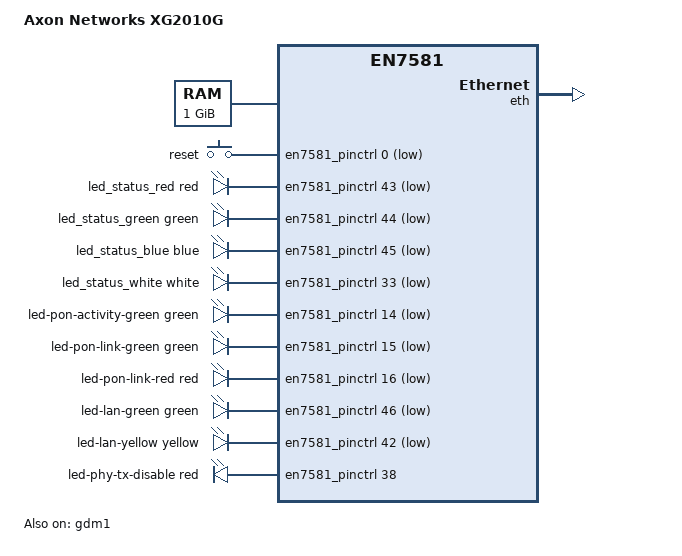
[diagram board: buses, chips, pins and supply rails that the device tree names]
// SPDX-License-Identifier: (GPL-2.0-only OR BSD-2-Clause)
/dts-v1/;

/* The vendor first-stage loader installs ATF here. */
/memreserve/ 0x80000000 0x200000;

#include <dt-bindings/gpio/gpio.h>
#include <dt-bindings/input/input.h>
#include <dt-bindings/leds/common.h>
#include "en7581.dtsi"

/ {
	model = "Axon Networks XG2010G";
	compatible = "axon,xg2010g", "econet,xg2010g",
		     "econet,en7581", "airoha,an7581", "airoha,en7581";
	recovery-gpios = <&en7581_pinctrl 0 GPIO_ACTIVE_LOW>;
	recovery-link-mdio = <&mdio>;
	recovery-link-phy-addrs = <12>;
	recovery-green-led-gpios = <&en7581_pinctrl 46 GPIO_ACTIVE_LOW>;
	recovery-yellow-led-gpios = <&en7581_pinctrl 42 GPIO_ACTIVE_LOW>;

	aliases {
		serial0 = &uart1;
		led-boot = &led_status_red;
		led-failsafe = &led_status_blue;
		led-upgrade = &led_status_white;
		led-running = &led_status_green;
	};

	chosen {
		rootdisk = <&ubi_rootfs>;
		bootargs = "console=ttyS0,115200 earlycon ubi.block=0,fit root=/dev/fit0 rootwait";
		stdout-path = "serial0:115200n8";
		linux,usable-memory-range = <0x0 0x80200000 0x0 0x3fe00000>;
	};

	memory@80000000 {
		device_type = "memory";
		reg = <0x0 0x80000000 0x0 0x40000000>;
	};

	keys {
		compatible = "gpio-keys";

		key-restart {
			label = "reset";
			gpios = <&en7581_pinctrl 0 GPIO_ACTIVE_LOW>;
			linux,code = <KEY_RESTART>;
		};
	};

	leds {
		compatible = "gpio-leds";

		led_status_red: led-status-red {
			color = <LED_COLOR_ID_RED>;
			function = LED_FUNCTION_STATUS;
			gpios = <&en7581_pinctrl 43 GPIO_ACTIVE_LOW>;
			default-state = "on";
		};

		led_status_green: led-status-green {
			color = <LED_COLOR_ID_GREEN>;
			function = LED_FUNCTION_STATUS;
			gpios = <&en7581_pinctrl 44 GPIO_ACTIVE_LOW>;
		};

		led_status_blue: led-status-blue {
			color = <LED_COLOR_ID_BLUE>;
			function = LED_FUNCTION_STATUS;
			gpios = <&en7581_pinctrl 45 GPIO_ACTIVE_LOW>;
		};

		led_status_white: led-status-white {
			color = <LED_COLOR_ID_WHITE>;
			function = LED_FUNCTION_STATUS;
			gpios = <&en7581_pinctrl 33 GPIO_ACTIVE_LOW>;
		};

		led-pon-activity-green {
			color = <LED_COLOR_ID_GREEN>;
			function = LED_FUNCTION_ACTIVITY;
			gpios = <&en7581_pinctrl 14 GPIO_ACTIVE_LOW>;
		};

		led-pon-link-green {
			color = <LED_COLOR_ID_GREEN>;
			function = LED_FUNCTION_WAN_ONLINE;
			gpios = <&en7581_pinctrl 15 GPIO_ACTIVE_LOW>;
		};

		led-pon-link-red {
			color = <LED_COLOR_ID_RED>;
			function = LED_FUNCTION_WAN;
			gpios = <&en7581_pinctrl 16 GPIO_ACTIVE_LOW>;
		};

		led-lan-green {
			color = <LED_COLOR_ID_GREEN>;
			function = LED_FUNCTION_LAN;
			gpios = <&en7581_pinctrl 46 GPIO_ACTIVE_LOW>;
		};

		led-lan-yellow {
			color = <LED_COLOR_ID_YELLOW>;
			function = LED_FUNCTION_LAN;
			gpios = <&en7581_pinctrl 42 GPIO_ACTIVE_LOW>;
		};

		led-phy-tx-disable {
			color = <LED_COLOR_ID_RED>;
			function = LED_FUNCTION_FAULT;
			gpios = <&en7581_pinctrl 38 GPIO_ACTIVE_HIGH>;
			default-state = "on";
		};
	};
};

&en7581_pinctrl {
	gpio-ranges = <&en7581_pinctrl 0 13 47>;

	mdio_pins: mdio-pins {
		mux {
			function = "mdio";
			groups = "mdio";
		};

		conf {
			pins = "gpio2";
			output-high;
		};
	};
};

&spi_nand {
	#address-cells = <1>;
	#size-cells = <1>;

	partitions {
		compatible = "fixed-partitions";
		#address-cells = <1>;
		#size-cells = <1>;

		partition@0 {
			label = "vendor";
			reg = <0x00000000 0x00600000>;
			read-only;
		};

		partition@600000 {
			label = "chainloader";
			reg = <0x00600000 0x00100000>;
		};

		partition@700000 {
			label = "ubi";
			reg = <0x00700000 0x1b600000>;
			compatible = "linux,ubi";

			volumes {
				ubi-volume-ubootenv {
					volname = "ubootenv";

					nvmem-layout {
						compatible = "u-boot,env-redundant-bool";
					};
				};

				ubi-volume-ubootenv2 {
					volname = "ubootenv2";

					nvmem-layout {
						compatible = "u-boot,env-redundant-bool";
					};
				};

				ubi-volume-uboot {
					volname = "uboot";
				};

				ubi_rootfs: ubi-volume-fit {
					volname = "fit";
				};
			};
		};

		partition@1bd00000 {
			label = "art";
			reg = <0x1bd00000 0x00300000>;
			read-only;
		};

		partition@1c000000 {
			label = "reserved_bmt";
			reg = <0x1c000000 0x04000000>;
			read-only;
		};

		/*
		 * Read-only views of the stock XG2010G layout. These overlap the
		 * XR-style primary layout above and exist only for factory-data access
		 * and boot fallback before the UBI partition has been initialized.
		 */
		partition-stock-bootloader@0 {
			label = "bootloader";
			reg = <0x00000000 0x00200000>;
			read-only;
		};

		partition-stock-uenv@200000 {
			label = "uenv";
			reg = <0x00200000 0x00200000>;
			read-only;
		};

		partition-stock-dsd@400000 {
			label = "dsd";
			reg = <0x00400000 0x00200000>;
			read-only;
		};

		partition-stock-tclinux@600000 {
			label = "tclinux";
			reg = <0x00600000 0x04000000>;
			read-only;
		};

		partition-stock-tclinux-slave@4600000 {
			label = "tclinux_slave";
			reg = <0x04600000 0x04000000>;
			read-only;
		};

		partition-stock-system@8600000 {
			label = "system";
			reg = <0x08600000 0x10000000>;
			read-only;
		};

		partition-stock-rootfs-data@18600000 {
			label = "rootfs_data_stock";
			reg = <0x18600000 0x00800000>;
			read-only;
		};

		partition-stock-reserved@18e00000 {
			label = "reserved_stock";
			reg = <0x18e00000 0x02f00000>;
			read-only;
		};
	};
};

&eth {
	status = "okay";
};

&gdm1 {
	status = "okay";
};
